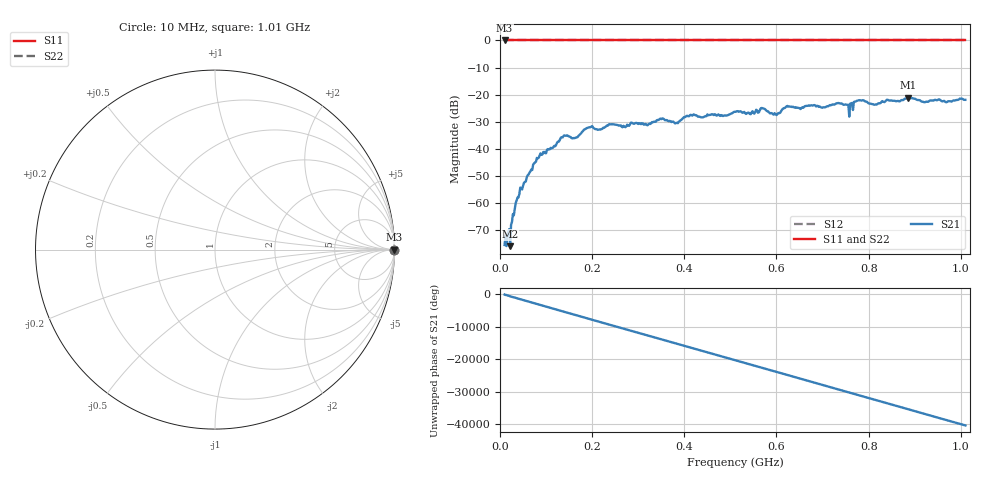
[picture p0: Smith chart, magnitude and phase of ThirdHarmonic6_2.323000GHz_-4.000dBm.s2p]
! 8/17/2025 3:18:27 AM
! C:\ANRITSUVNA\TEMP\TEMP.S2P
! CHANNEL.1
! TR.MEASUREMENT
! RAW.DATA
! RF.CORRECTION.OFF
! AVERAGING.OFF
! IF.BANDWIDTH: 5KHZ
! SWEEPTYPE:  FREQ.SWEEP(Linear)
! Reference Plane Port Info
! PORT:  PORT1  PORT2
! DISTANCE:  0  m  0  m
! TIME:  0  s  0  s
! PHASE.OFFSET:  0  deg.  0  deg.
! LOSS:  0  dB  0  dB
! REF.LOSS:  0  dB  0  dB
! REF.FREQ:  0  Hz  0  Hz
! Power Info
! POWER:  -20  dBm  -20  dBm
! EFF.POWER:  -20  dBm  -20  dBm
! SOURCE.ATTEN:  0  dB  0  dB
! TEST.ATTEN:  0  dB  0  dB
# GHZ S RI R 50.0
! FREQ.GHZ  S11RE  S11IM  S21RE  S21IM  S12RE  S12IM  S22RE  S22IM
!; PortSelection: Port_12
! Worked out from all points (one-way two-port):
!   501 points, 10 MHz to 1.01 GHz, reference 50 ohm
!   highest |S21| = -21.16 dB at 886 MHz (marker M1); lowest = -75.9 dB at 22 MHz (marker M2)
!   lowest |S11| = 0.0 dB at 10 MHz (marker M3)
!   |S11| at or under -10 dB: nowhere
!   |S22| runs from 0.0 to 0.0 dB; largest |S21 - S12| = 1.1
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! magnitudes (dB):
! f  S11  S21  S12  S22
! 10 MHz  0.0  -75.5  0.0  0.0
! 22 MHz  0.0  -75.9  0.0  0.0
! 42 MHz  0.0  -56.7  0.0  0.0
! 84 MHz  0.0  -43.3  0.0  0.0
! 136 MHz  0.0  -35.8  0.0  0.0
! 164 MHz  0.0  -35.9  0.0  0.0
! 178 MHz  0.0  -33.8  0.0  0.0
! 196 MHz  0.0  -32.0  0.0  0.0
! 344 MHz  0.0  -29.4  0.0  0.0
! 382 MHz  0.0  -30.4  0.0  0.0
! 416 MHz  0.0  -27.7  0.0  0.0
! 510 MHz  0.0  -26.3  0.0  0.0
! 570 MHz  0.0  -25.0  0.0  0.0
! 598 MHz  0.0  -27.3  0.0  0.0
! 624 MHz  0.0  -24.2  0.0  0.0
! 678 MHz  0.0  -24.0  0.0  0.0
! 762 MHz  0.0  -23.2  0.0  0.0
! 778 MHz  0.0  -22.1  0.0  0.0
! 814 MHz  0.0  -23.7  0.0  0.0
! 844 MHz  0.0  -22.2  0.0  0.0
! 886 MHz  0.0  -21.2  0.0  0.0
! 1.01 GHz  0.0  -21.9  0.0  0.0
